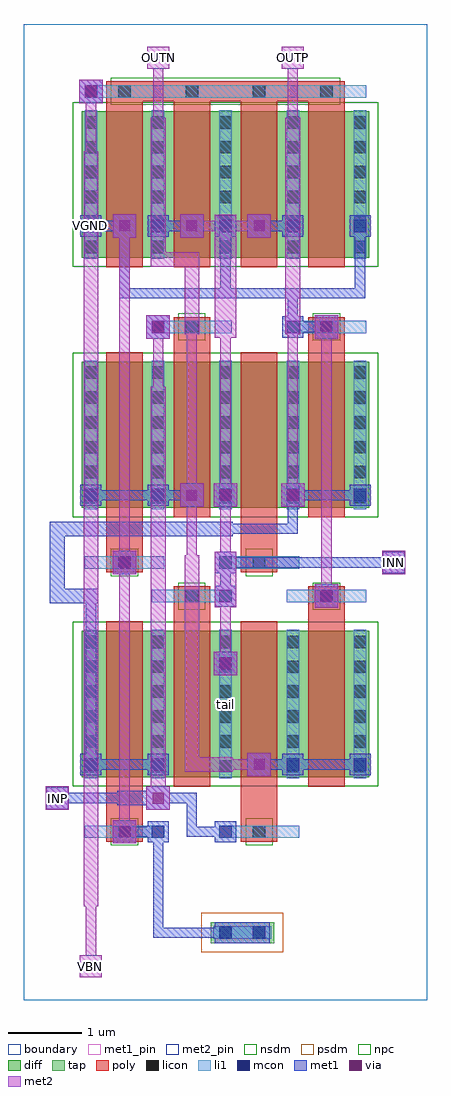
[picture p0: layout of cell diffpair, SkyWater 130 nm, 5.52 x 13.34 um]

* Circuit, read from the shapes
.subckt diffpair INN INP OUTN OUTP VBN VGND tail
XM1 OUTP VGND OUTP VGND sky130_fd_pr__nfet_01v8 w=2 l=0.5 m=2
XM2 OUTN VGND OUTN VGND sky130_fd_pr__nfet_01v8 w=2 l=0.5 m=2
XM3 tail VBN VGND VGND sky130_fd_pr__nfet_01v8 w=2 l=0.5 m=4
XM4 tail INN OUTP VGND sky130_fd_pr__nfet_01v8 w=2 l=0.5 m=2
XM5 tail INP OUTN VGND sky130_fd_pr__nfet_01v8 w=2 l=0.5 m=2
.ends

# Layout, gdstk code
import gdstk
lib = gdstk.Library(unit=1e-6, precision=1e-09)
def R(c, l, rs):  # rectangles x0, y0, x1, y1
    for r in rs: c.add(gdstk.rectangle(r[:2], r[2:], *l))
def A(c, l, x, y, w, h, nx, ny, dx, dy):  # array of equal rectangles
    R(c, l, [(x+i*dx, y+j*dy, x+i*dx+w, y+j*dy+h) for i in range(nx) for j in range(ny)])
diff = (65, 20)
tap = (65, 44)
poly = (66, 20)
licon = (66, 44)
li1 = (67, 20)
mcon = (67, 44)
met1_pin = (68, 16)
met1 = (68, 20)
via = (68, 44)
met2_pin = (69, 16)
met2 = (69, 20)
nsdm = (93, 44)
psdm = (94, 20)
npc = (95, 20)
boundary = (235, 4)

diffpair = lib.new_cell('diffpair')
R(diffpair, diff, [(0.795,3.045,4.725,5.045), (0.795,6.725,4.725,8.725), (0.795,10.145,4.725,12.145)])
R(diffpair, tap, [(2.555,0.775,3.425,1.065)])
A(diffpair, poly, 1.13, 10.015, 0.5, 2.405, 4, 1, 0.92, 0)
R(diffpair, poly, [(1.13,2.165,1.63,2.435), (2.97,2.165,3.47,2.435), (1.13,2.3,1.63,5.175), (2.97,2.3,3.47,5.175), (2.05,2.915,2.55,5.52), (3.89,2.915,4.39,5.52), (2.05,5.385,2.55,5.655), (3.89,5.385,4.39,5.655), (1.13,5.845,1.63,6.115), (2.97,5.845,3.47,6.115), (1.13,5.98,1.63,8.855), (2.97,5.98,3.47,8.855), (2.05,6.595,2.55,9.2), (3.89,6.595,4.39,9.2), (2.05,9.065,2.55,9.335), (3.89,9.065,4.39,9.335), (1.13,12.285,4.39,12.555)])
A(diffpair, licon, 0.835, 3.11, 0.17, 0.17, 5, 6, 0.92, 0.34)
A(diffpair, licon, 0.835, 6.79, 0.17, 0.17, 5, 6, 0.92, 0.34)
A(diffpair, licon, 0.835, 10.21, 0.17, 0.17, 5, 6, 0.92, 0.34)
A(diffpair, licon, 1.295, 12.335, 0.17, 0.17, 4, 1, 0.92, 0)
R(diffpair, licon, [(2.675,0.835,2.845,1.005), (3.135,0.835,3.305,1.005), (1.295,2.215,1.465,2.385), (3.135,2.215,3.305,2.385), (2.215,5.435,2.385,5.605), (4.055,5.435,4.225,5.605), (1.295,5.895,1.465,6.065), (3.135,5.895,3.305,6.065), (2.215,9.115,2.385,9.285), (4.055,9.115,4.225,9.285)])
A(diffpair, li1, 0.835, 3.03, 0.17, 2.03, 5, 2, 0.92, 3.68)
A(diffpair, li1, 0.835, 10.13, 0.17, 2.03, 5, 1, 0.92, 0)
R(diffpair, li1, [(2.595,0.835,3.385,1.005), (0.835,2.215,1.925,2.385), (2.675,2.215,3.765,2.385), (1.755,5.435,2.845,5.605), (3.595,5.435,4.685,5.605), (0.835,5.895,1.925,6.065), (2.675,5.895,3.765,6.065), (1.755,9.115,2.845,9.285), (3.595,9.115,4.685,9.285), (0.835,12.335,4.685,12.505)])
A(diffpair, mcon, 0.835, 6.815, 0.17, 0.17, 5, 2, 0.92, 3.68)
R(diffpair, mcon, [(2.675,0.835,2.845,1.005), (3.135,0.835,3.305,1.005), (1.755,2.215,1.925,2.385), (2.675,2.215,2.845,2.385), (0.835,3.135,1.005,3.305), (1.755,3.135,1.925,3.305), (3.595,3.135,3.765,3.305), (4.515,3.135,4.685,3.305), (2.675,4.515,2.845,4.685), (2.675,5.435,2.845,5.605), (4.055,5.435,4.225,5.605), (1.295,5.895,1.465,6.065), (2.675,5.895,2.845,6.065), (1.755,9.115,1.925,9.285), (3.595,9.115,3.765,9.285), (0.835,12.335,1.005,12.505)])
R(diffpair, met1_pin, [(0.775,10.435,1.065,10.725)])
A(diffpair, met1, 0.775, 6.755, 0.29, 0.29, 5, 2, 0.92, 3.68)
A(diffpair, met1, 1.22, 10.42, 0.32, 0.32, 3, 1, 0.92, 0)
R(diffpair, met1, [(2.615,0.775,3.365,1.065), (1.77,0.85,2.83,0.99), (1.77,0.85,1.91,2.37), (2.69,0.85,2.83,0.99), (1.22,2.14,1.54,2.46), (1.695,2.155,1.985,2.445), (2.615,2.155,2.905,2.445), (1.31,2.23,1.91,2.37), (2.23,2.23,2.83,2.37), (2.23,2.23,2.37,2.83), (0.3,2.6,0.62,2.92), (1.68,2.6,2,2.92), (1.28,2.66,1.94,2.86), (0.39,2.69,1.45,2.83), (1.77,2.69,2.37,2.83), (3.06,3.06,3.38,3.38), (0.775,3.075,1.065,3.365), (1.695,3.075,1.985,3.365), (3.535,3.075,3.825,3.365), (4.455,3.075,4.745,3.365), (0.85,3.15,1.91,3.29), (0.85,3.15,0.99,5.59), (3.15,3.15,3.75,3.29), (3.61,3.15,4.67,3.29), (2.6,4.44,2.92,4.76), (2.615,4.455,2.905,4.745), (3.98,5.36,4.3,5.68), (2.615,5.375,2.905,5.665), (3.995,5.375,4.285,5.665), (0.36,5.42,1.02,5.62), (0.36,5.42,0.56,6.54), (2.69,5.45,2.83,6.05), (1.22,5.82,1.54,6.14), (4.9,5.82,5.22,6.14), (1.235,5.835,1.525,6.125), (2.615,5.835,2.905,6.125), (2.69,5.91,5.13,6.05), (0.36,6.34,2.86,6.54), (2.69,6.37,3.75,6.51), (3.61,6.37,3.75,6.97), (2.14,6.74,2.46,7.06), (2.6,6.74,2.92,7.06), (3.52,6.74,3.84,7.06), (0.85,6.83,1.91,6.97), (1.77,6.83,2.37,6.97), (3.61,6.83,4.67,6.97), (1.68,9.04,2,9.36), (3.98,9.04,4.3,9.36), (1.695,9.055,1.985,9.345), (3.535,9.055,3.825,9.345), (3.61,9.13,4.21,9.27), (3.61,9.13,3.75,9.73), (1.31,9.59,1.45,10.65), (1.31,9.59,2.83,9.73), (2.69,9.59,3.75,9.73), (2.69,9.59,2.83,10.65), (3.61,9.59,4.67,9.73), (4.53,9.59,4.67,10.65), (0.85,10.51,1.45,10.65), (1.77,10.51,2.37,10.65), (3.15,10.51,3.75,10.65), (0.76,12.26,1.08,12.58), (0.775,12.275,1.065,12.565)])
A(diffpair, via, 1.305, 10.505, 0.15, 0.15, 3, 1, 0.92, 0)
R(diffpair, via, [(1.305,2.225,1.455,2.375), (0.385,2.685,0.535,2.835), (1.765,2.685,1.915,2.835), (3.145,3.145,3.295,3.295), (2.685,4.525,2.835,4.675), (4.065,5.445,4.215,5.595), (1.305,5.905,1.455,6.055), (4.985,5.905,5.135,6.055), (2.225,6.825,2.375,6.975), (2.685,6.825,2.835,6.975), (3.605,6.825,3.755,6.975), (1.765,9.125,1.915,9.275), (4.065,9.125,4.215,9.275), (0.845,12.345,0.995,12.495)])
R(diffpair, met2_pin, [(0.77,0.31,1.07,0.61), (0.31,2.61,0.61,2.91), (4.91,5.83,5.21,6.13), (1.69,12.73,1.99,13.03), (3.53,12.73,3.83,13.03)])
A(diffpair, met2, 1.22, 10.42, 0.32, 0.32, 3, 1, 0.92, 0)
R(diffpair, met2, [(0.77,0.31,1.07,0.61), (0.85,0.39,0.99,1.45), (0.85,0.39,0.99,0.53), (0.82,1.28,1.02,11.6), (1.22,2.14,1.54,2.46), (1.31,2.23,1.45,6.05), (0.3,2.6,0.62,2.92), (1.68,2.6,2,2.92), (0.31,2.61,0.61,2.91), (1.74,2.66,1.94,8.38), (0.39,2.69,0.53,2.83), (3.06,3.06,3.38,3.38), (2.2,3.12,2.4,6.08), (2.2,3.12,2.86,3.32), (2.69,3.15,3.29,3.29), (2.6,4.44,2.92,4.76), (2.69,4.53,2.83,5.59), (3.98,5.36,4.3,5.68), (2.61,5.37,2.91,6.13), (4.07,5.45,4.21,9.27), (1.22,5.82,1.54,6.14), (4.9,5.82,5.22,6.14), (4.91,5.83,5.21,6.13), (1.31,5.91,1.45,10.65), (2.23,5.91,2.37,6.97), (2.69,5.91,2.83,6.97), (4.99,5.91,5.13,6.05), (2.14,6.74,2.46,7.06), (2.6,6.74,2.92,7.06), (3.52,6.74,3.84,7.06), (2.23,6.83,2.37,9.27), (2.69,6.83,2.83,9.27), (3.61,6.83,3.75,9.27), (1.77,8.21,1.91,9.27), (1.68,9.04,2,9.36), (3.98,9.04,4.3,9.36), (2.61,9.05,2.91,10.73), (2.2,9.1,2.4,10.22), (3.58,9.1,3.78,12.06), (1.74,10.02,2.4,10.22), (1.74,10.02,1.94,12.06), (2.23,10.51,2.83,10.65), (2.69,10.51,3.29,10.65), (0.85,11.43,0.99,12.49), (1.77,11.89,1.91,12.95), (3.61,11.89,3.75,12.95), (0.76,12.26,1.08,12.58), (1.69,12.73,1.99,13.03), (3.53,12.73,3.83,13.03), (1.77,12.81,1.91,12.95), (3.61,12.81,3.75,12.95)])
R(diffpair, nsdm, [(0.67,2.92,4.85,5.17), (0.67,6.6,4.85,8.85), (0.67,10.02,4.85,12.27)])
R(diffpair, psdm, [(2.43,0.65,3.55,1.19)])
R(diffpair, npc, [(1.195,2.115,1.565,2.485), (3.035,2.115,3.405,2.485), (2.115,5.335,2.485,5.705), (3.955,5.335,4.325,5.705), (1.195,5.795,1.565,6.165), (3.035,5.795,3.405,6.165), (2.115,9.015,2.485,9.385), (3.955,9.015,4.325,9.385), (1.195,12.235,4.325,12.605)])
R(diffpair, boundary, [(0,0,5.52,13.34)])
diffpair.add(gdstk.Label('tail', (2.76,4.045), layer=67, texttype=5))
diffpair.add(gdstk.Label('VGND', (0.92,10.58), layer=68, texttype=5))
diffpair.add(gdstk.Label('INP', (0.46,2.76), layer=69, texttype=5))
diffpair.add(gdstk.Label('INN', (5.06,5.98), layer=69, texttype=5))
diffpair.add(gdstk.Label('VBN', (0.92,0.46), layer=69, texttype=5))
diffpair.add(gdstk.Label('OUTP', (3.68,12.88), layer=69, texttype=5))
diffpair.add(gdstk.Label('OUTN', (1.84,12.88), layer=69, texttype=5))
diffpair.add(gdstk.Label('VGND', (0.92,10.58), layer=68, texttype=16))
diffpair.add(gdstk.Label('INP', (0.46,2.76), layer=69, texttype=16))
diffpair.add(gdstk.Label('INN', (5.06,5.98), layer=69, texttype=16))
diffpair.add(gdstk.Label('VBN', (0.92,0.46), layer=69, texttype=16))
diffpair.add(gdstk.Label('OUTP', (3.68,12.88), layer=69, texttype=16))
diffpair.add(gdstk.Label('OUTN', (1.84,12.88), layer=69, texttype=16))

lib.write_gds('diffpair.gds')
